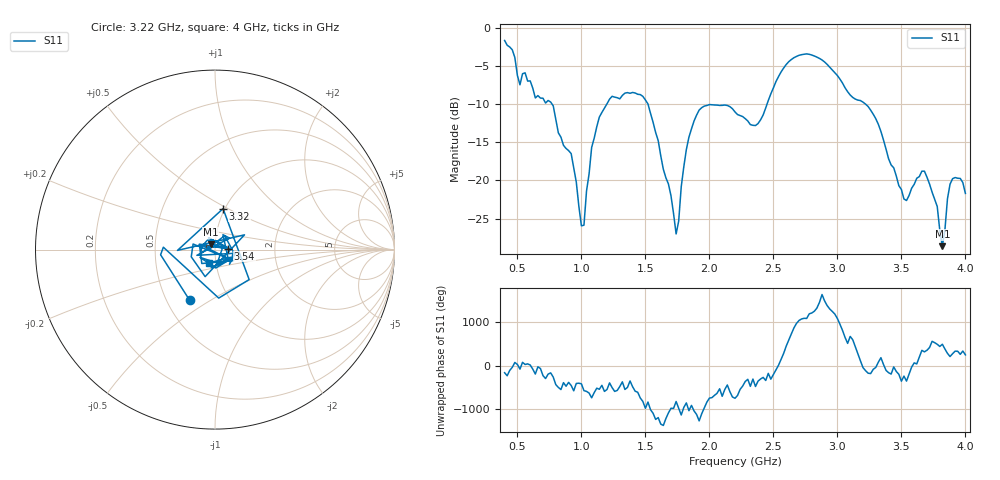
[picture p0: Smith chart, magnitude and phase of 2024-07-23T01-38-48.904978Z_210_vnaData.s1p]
!Created with skrf (http://scikit-rf.org).
# Hz S RI R 50.0
!freq ReS11 ImS11
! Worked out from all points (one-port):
!   181 points, 400 MHz to 4 GHz, reference 50 ohm
!   lowest |S11| = -28.6 dB at 3.82 GHz (marker M1), VSWR 1.08, Z = 47.7 + j2.76 ohm
!   |S11| at or under -10 dB: 770.2 MHz to 1.199 GHz (429 MHz wide, 43.6 % of centre); 1.52 GHz to 2.451 GHz (930.6 MHz wide, 46.9 % of centre); 3.219 GHz to end of sweep
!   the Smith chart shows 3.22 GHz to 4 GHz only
!   S11 on the Smith chart (normalised r, x): 3.22 GHz: 0.65, -0.41; 3.32 GHz: 0.98, +0.47; 3.54 GHz: 1.16, +0.01; 4 GHz: 0.92, -0.14
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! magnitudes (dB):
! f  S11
! 400 MHz  -1.7
! 520 MHz  -7.5
! 780 MHz  -10.2
! 860 MHz  -15.4
! 920 MHz  -16.5
! 1.02 GHz  -25.9
! 1.08 GHz  -15.7
! 1.14 GHz  -11.7
! 1.3 GHz  -9.3
! 1.52 GHz  -10.0
! 1.74 GHz  -27.0
! 1.76 GHz  -25.3
! 1.82 GHz  -16.0
! 1.92 GHz  -10.8
! 2.2 GHz  -11.0
! 2.38 GHz  -12.6
! 2.66 GHz  -3.9
! 2.88 GHz  -4.2
! 3.1 GHz  -8.8
! 3.22 GHz  -10.0
! 3.32 GHz  -12.7
! 3.54 GHz  -22.6
! 3.56 GHz  -22.0
! 3.68 GHz  -18.8
! 3.78 GHz  -23.4
! 3.82 GHz  -28.6
! 3.88 GHz  -20.5
! 4 GHz  -21.7
